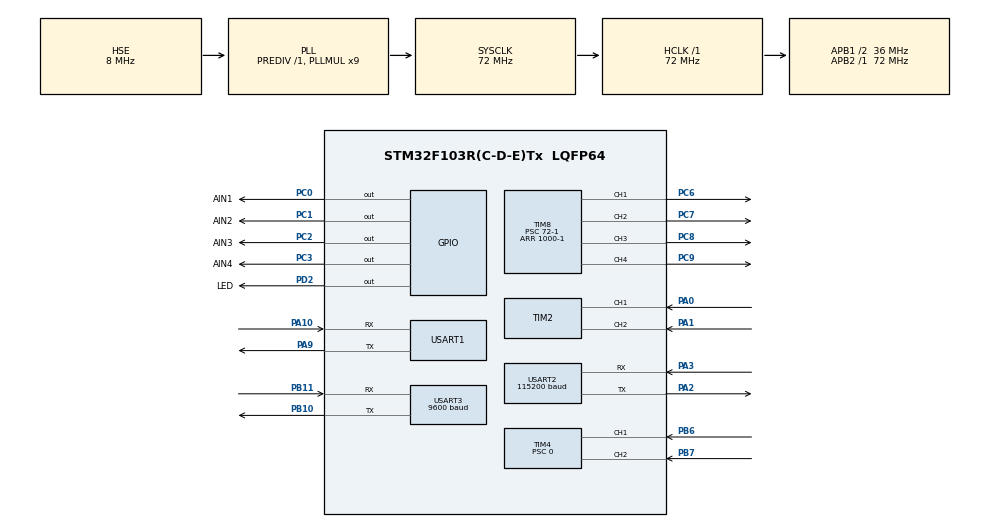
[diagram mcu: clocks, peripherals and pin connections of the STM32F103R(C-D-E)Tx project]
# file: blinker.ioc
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Dma.Request0=USART2_RX
Dma.Request1=USART3_RX
Dma.USART2_RX.0.Direction=DMA_PERIPH_TO_MEMORY
Dma.USART2_RX.0.Instance=DMA1_Channel6
Dma.USART2_RX.0.MemDataAlignment=DMA_MDATAALIGN_BYTE
Dma.USART2_RX.0.MemInc=DMA_MINC_ENABLE
Dma.USART2_RX.0.Mode=DMA_NORMAL
Dma.USART2_RX.0.PeriphDataAlignment=DMA_PDATAALIGN_BYTE
Dma.USART2_RX.0.PeriphInc=DMA_PINC_DISABLE
Dma.USART2_RX.0.Priority=DMA_PRIORITY_LOW
Dma.USART3_RX.1.Direction=DMA_PERIPH_TO_MEMORY
Dma.USART3_RX.1.Instance=DMA1_Channel3
Dma.USART3_RX.1.MemDataAlignment=DMA_MDATAALIGN_BYTE
Dma.USART3_RX.1.MemInc=DMA_MINC_ENABLE
Dma.USART3_RX.1.Mode=DMA_NORMAL
Dma.USART3_RX.1.PeriphDataAlignment=DMA_PDATAALIGN_BYTE
Dma.USART3_RX.1.PeriphInc=DMA_PINC_DISABLE
Dma.USART3_RX.1.Priority=DMA_PRIORITY_LOW
Mcu.Family=STM32F1
Mcu.Name=STM32F103R(C-D-E)Tx
Mcu.Package=LQFP64
NVIC.DMA1_Channel3_IRQn=true\:0\:0\:false\:false\:true\:false\:true
NVIC.DMA1_Channel6_IRQn=true\:0\:0\:false\:false\:true\:false\:true
NVIC.PriorityGroup=NVIC_PRIORITYGROUP_4
NVIC.TIM2_IRQn=true\:0\:0\:false\:false\:true\:true\:true
NVIC.TIM4_IRQn=true\:0\:0\:false\:false\:true\:true\:true
NVIC.TIM6_IRQn=true\:0\:0\:false\:false\:true\:true\:true
NVIC.USART2_IRQn=true\:0\:0\:false\:false\:true\:true\:true
NVIC.USART3_IRQn=true\:0\:0\:false\:false\:true\:true\:true
PA0-WKUP.Signal=S_TIM2_CH1_ETR
PA1.Signal=S_TIM2_CH2
PA10.Mode=Asynchronous
PA10.Signal=USART1_RX
PA13.Mode=Serial_Wire
PA13.Signal=SYS_JTMS-SWDIO
PA14.Mode=Serial_Wire
PA14.Signal=SYS_JTCK-SWCLK
PA2.Mode=Asynchronous
PA2.Signal=USART2_TX
PA3.Mode=Asynchronous
PA3.Signal=USART2_RX
PA9.Mode=Asynchronous
PA9.Signal=USART1_TX
PB10.Mode=Asynchronous
PB10.Signal=USART3_TX
PB11.Mode=Asynchronous
PB11.Signal=USART3_RX
PB6.Signal=S_TIM4_CH1
PB7.Signal=S_TIM4_CH2
PC0.GPIO_Label=AIN1
PC0.Signal=GPIO_Output
PC1.GPIO_Label=AIN2
PC1.Signal=GPIO_Output
PC2.GPIO_Label=AIN3
PC2.Signal=GPIO_Output
PC3.GPIO_Label=AIN4
PC3.Signal=GPIO_Output
PC6.Signal=S_TIM8_CH1
PC7.Signal=S_TIM8_CH2
PC8.Signal=S_TIM8_CH3
PC9.Signal=S_TIM8_CH4
PD0-OSC_IN.Mode=HSE-External-Oscillator
PD0-OSC_IN.Signal=RCC_OSC_IN
PD1-OSC_OUT.Mode=HSE-External-Oscillator
PD1-OSC_OUT.Signal=RCC_OSC_OUT
PD2.GPIO_Label=LED
PD2.Signal=GPIO_Output
ProjectManager.HeapSize=0x200
ProjectManager.StackSize=0x400
ProjectManager.TargetToolchain=Makefile
RCC.AHBFreq_Value=72000000
RCC.APB1CLKDivider=RCC_HCLK_DIV2
RCC.APB1Freq_Value=36000000
RCC.APB1TimFreq_Value=72000000
RCC.APB2Freq_Value=72000000
RCC.APB2TimFreq_Value=72000000
RCC.HCLKFreq_Value=72000000
RCC.PLLMUL=RCC_PLL_MUL9
RCC.PLLSourceVirtual=RCC_PLLSOURCE_HSE
RCC.SYSCLKFreq_VALUE=72000000
RCC.SYSCLKSource=RCC_SYSCLKSOURCE_PLLCLK
RCC.USBFreq_Value=72000000
SH.S_TIM2_CH1_ETR.0=TIM2_CH1,Encoder_Interface
SH.S_TIM2_CH2.0=TIM2_CH2,Encoder_Interface
SH.S_TIM4_CH1.0=TIM4_CH1,Encoder_Interface
SH.S_TIM4_CH2.0=TIM4_CH2,Encoder_Interface
SH.S_TIM8_CH1.0=TIM8_CH1,PWM Generation1 CH1
SH.S_TIM8_CH2.0=TIM8_CH2,PWM Generation2 CH2
SH.S_TIM8_CH3.0=TIM8_CH3,PWM Generation3 CH3
SH.S_TIM8_CH4.0=TIM8_CH4,PWM Generation4 CH4
TIM4.Period=65535
TIM4.Prescaler=0
TIM6.Period=40000-1
TIM6.Prescaler=72-1
TIM8.Channel-PWM\ Generation1\ CH1=TIM_CHANNEL_1
TIM8.Channel-PWM\ Generation2\ CH2=TIM_CHANNEL_2
TIM8.Channel-PWM\ Generation3\ CH3=TIM_CHANNEL_3
TIM8.Channel-PWM\ Generation4\ CH4=TIM_CHANNEL_4
TIM8.Period=1000-1
TIM8.Prescaler=72-1
USART1.VirtualMode=VM_ASYNC
USART2.BaudRate=115200
USART2.VirtualMode=VM_ASYNC
USART3.BaudRate=9600
USART3.VirtualMode=VM_ASYNC
VP_TIM6_VS_ClockSourceINT.Mode=Enable_Timer
board=custom

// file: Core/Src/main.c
/* USER CODE BEGIN Header */
/**
  ******************************************************************************
  * @file           : main.c
  * @brief          : Main program body
  ******************************************************************************
  * @attention
  *
  * <h2><center>&copy; Copyright (c) 2021 STMicroelectronics.
  * All rights reserved.</center></h2>
  *
  * This software component is licensed by ST under BSD 3-Clause license,
  * the "License"; You may not use this file except in compliance with the
  * License. You may obtain a copy of the License at:
  *                        opensource.org/licenses/BSD-3-Clause
  *
  ******************************************************************************
  */
/* USER CODE END Header */
#include "main.h"
#include "dma.h"
#include "tim.h"
#include "usart.h"
#include "gpio.h"

/* USER CODE BEGIN Includes */
#include "jy62.h"
/* USER CODE END Includes */

/* USER CODE BEGIN PV */
uint8_t u2_RX_Buf[MAX_LEN];
uint8_t u2_RX_Buf[6];
uint8_t u2_RX_ReceiveBit;
int rx_len = 0;
/* USER CODE END PV */

void SystemClock_Config(void);

int main(void)
{

  /* MCU Configuration--------------------------------------------------------*/

  /* Reset of all peripherals, Initializes the Flash interface and the Systick. */
  HAL_Init();

  /* USER CODE BEGIN Init */
  // HAL_UART_Receive_DMA(&huart2, u2_RX_Buf, RX_BUF_LEN);
  /* USER CODE END Init */

  /* Configure the system clock */
  SystemClock_Config();

  /* Initialize all configured peripherals */
  MX_GPIO_Init();
  MX_USART1_UART_Init();
  MX_DMA_Init();
  MX_USART2_UART_Init();
  MX_USART3_UART_Init();
  MX_TIM8_Init();
  MX_TIM6_Init();
  MX_TIM2_Init();
  MX_TIM4_Init();
  jy62_Init(&huart2);
  SetBaud(115200); //?????????115200?9600
  SetHorizontal(); //?????????
  SetVertical();   //?????????
  InitAngle();     //???z????0
  Calibrate();     //??????
  SleepOrAwake();  //????/??
  /* USER CODE BEGIN 2 */

  HAL_TIM_Base_Start_IT(&htim6);
  // 使能定时�?????????6的中�?????????
  HAL_TIM_PWM_Start(&htim8, TIM_CHANNEL_4); // 使能定时�?????????1的�?�道4，设定为PWM输出
  HAL_TIM_PWM_Start(&htim8, TIM_CHANNEL_3);
  HAL_TIM_Encoder_Start(&htim2, TIM_CHANNEL_1);
  HAL_TIM_Encoder_Start(&htim2, TIM_CHANNEL_2);
  HAL_TIM_Encoder_Start(&htim4, TIM_CHANNEL_1);
  HAL_TIM_Encoder_Start(&htim4, TIM_CHANNEL_2);
  /* USER CODE END 2 */

  /* Infinite loop */
  while (1)
  {

    /* USER CODE BEGIN 3 */
    jy62MessageRecord();
    //??????????????????????????
    // HAL_GPIO_TogglePin(LED_GPIO_Port, LED_Pin);
    if (flag == 0)
    {
      speed1 = 0;
      speed2 = 0;
    }
    if (flag == 1)
    {
      speed1 = 150;
      speed2 = 150;
    }
    if (flag == 2)
    {
      speed1 = 400;
      speed2 = -400;
    }
    u1_printf("GetYaw:%f\r\n", GetYaw());
    HAL_Delay(10);
  }
  /* USER CODE END 3 */
}

void SystemClock_Config(void)
{
  RCC_OscInitTypeDef RCC_OscInitStruct = {0};
  RCC_ClkInitTypeDef RCC_ClkInitStruct = {0};

  /** Initializes the RCC Oscillators according to the specified parameters
  * in the RCC_OscInitTypeDef structure.
  */
  RCC_OscInitStruct.OscillatorType = RCC_OSCILLATORTYPE_HSE;
  RCC_OscInitStruct.HSEState = RCC_HSE_ON;
  RCC_OscInitStruct.HSEPredivValue = RCC_HSE_PREDIV_DIV1;
  RCC_OscInitStruct.HSIState = RCC_HSI_ON;
  RCC_OscInitStruct.PLL.PLLState = RCC_PLL_ON;
  RCC_OscInitStruct.PLL.PLLSource = RCC_PLLSOURCE_HSE;
  RCC_OscInitStruct.PLL.PLLMUL = RCC_PLL_MUL9;
  if (HAL_RCC_OscConfig(&RCC_OscInitStruct) != HAL_OK)
  {
    Error_Handler();
  }
  /** Initializes the CPU, AHB and APB buses clocks
  */
  RCC_ClkInitStruct.ClockType = RCC_CLOCKTYPE_HCLK | RCC_CLOCKTYPE_SYSCLK | RCC_CLOCKTYPE_PCLK1 | RCC_CLOCKTYPE_PCLK2;
  RCC_ClkInitStruct.SYSCLKSource = RCC_SYSCLKSOURCE_PLLCLK;
  RCC_ClkInitStruct.AHBCLKDivider = RCC_SYSCLK_DIV1;
  RCC_ClkInitStruct.APB1CLKDivider = RCC_HCLK_DIV2;
  RCC_ClkInitStruct.APB2CLKDivider = RCC_HCLK_DIV1;

  if (HAL_RCC_ClockConfig(&RCC_ClkInitStruct, FLASH_LATENCY_2) != HAL_OK)
  {
    Error_Handler();
  }
}

void Error_Handler(void)
{
  __disable_irq();
  while (1)
  {
  }
}

/************************ (C) COPYRIGHT STMicroelectronics *****END OF FILE****/
